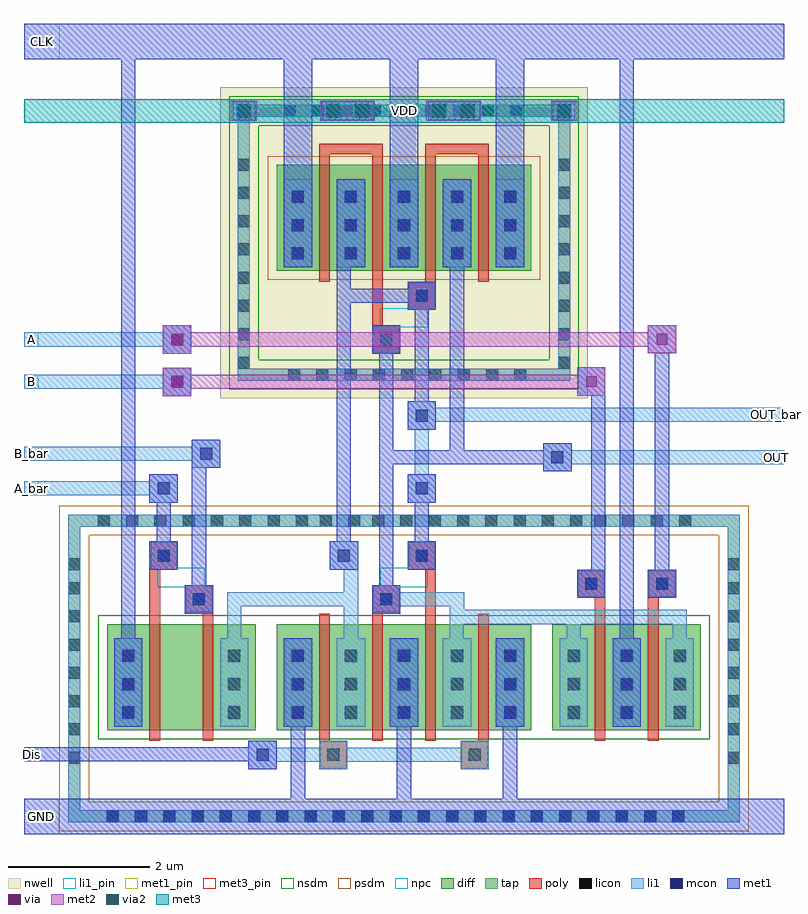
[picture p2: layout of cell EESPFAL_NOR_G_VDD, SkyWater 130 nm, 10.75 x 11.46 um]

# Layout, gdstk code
import gdstk
lib = gdstk.Library(unit=1e-6, precision=1e-09)
def R(c, l, rs):  # rectangles x0, y0, x1, y1
    for r in rs: c.add(gdstk.rectangle(r[:2], r[2:], *l))
def A(c, l, x, y, w, h, nx, ny, dx, dy):  # array of equal rectangles
    R(c, l, [(x+i*dx, y+j*dy, x+i*dx+w, y+j*dy+h) for i in range(nx) for j in range(ny)])
nwell = (64, 20)
diff = (65, 20)
tap = (65, 44)
poly = (66, 20)
licon = (66, 44)
li1_pin = (67, 16)
li1 = (67, 20)
mcon = (67, 44)
met1_pin = (68, 16)
met1 = (68, 20)
via = (68, 44)
met2 = (69, 20)
via2 = (69, 44)
met3_pin = (70, 16)
met3 = (70, 20)
nsdm = (93, 44)
psdm = (94, 20)
npc = (95, 20)

eespfal_nor_g_vdd = lib.new_cell('EESPFAL_NOR_G_VDD')
R(eespfal_nor_g_vdd, nwell, [(-20.15,6.295,-14.95,10.695)])
R(eespfal_nor_g_vdd, diff, [(-21.75,1.6,-19.65,3.1), (-19.35,1.6,-15.75,3.1), (-15.45,1.6,-13.35,3.1), (-19.35,8.095,-15.75,9.595)])
R(eespfal_nor_g_vdd, tap, [(-22.3,0.295,-12.8,0.465), (-22.3,0.465,-22.13,4.48), (-12.97,0.465,-12.8,4.48), (-22.3,4.48,-12.8,4.65), (-19.9,6.545,-15.2,6.715), (-19.9,6.715,-19.73,10.275), (-15.37,6.715,-15.2,10.275), (-19.9,10.275,-15.2,10.445)])
R(eespfal_nor_g_vdd, poly, [(-18.75,1.05,-18.35,1.45), (-16.75,1.05,-16.35,1.45), (-21.15,1.45,-21,3.87), (-20.4,1.45,-20.25,3.25), (-18.75,1.45,-18.6,3.25), (-18,1.45,-17.85,3.25), (-17.25,1.45,-17.1,3.87), (-16.5,1.45,-16.35,3.25), (-14.85,1.45,-14.7,3.47), (-14.1,1.45,-13.95,3.47), (-20.65,3.25,-20.25,3.65), (-18,3.25,-17.6,3.65), (-15.1,3.47,-14.7,3.87), (-14.1,3.47,-13.7,3.87), (-21.15,3.87,-20.75,4.27), (-17.5,3.87,-17.1,4.27), (-18,6.925,-17.6,7.325), (-18,7.325,-17.85,9.745), (-17.5,7.545,-17.1,7.945), (-18.75,7.945,-18.6,9.745), (-17.25,7.945,-17.1,9.745), (-16.5,7.945,-16.35,9.745), (-18.75,9.745,-17.85,9.895), (-17.25,9.745,-16.35,9.895)])
A(eespfal_nor_g_vdd, licon, -21.755, 0.295, 0.17, 0.17, 21, 1, 0.4, 0)
A(eespfal_nor_g_vdd, licon, -22.3, 1.125, 0.17, 0.17, 1, 7, 0, 0.4)
A(eespfal_nor_g_vdd, licon, -12.97, 1.125, 0.17, 0.17, 1, 7, 0, 0.4)
A(eespfal_nor_g_vdd, licon, -21.535, 1.765, 0.17, 0.17, 1, 3, 0, 0.4)
A(eespfal_nor_g_vdd, licon, -20.035, 1.765, 0.17, 0.17, 1, 3, 0, 0.4)
A(eespfal_nor_g_vdd, licon, -19.135, 1.765, 0.17, 0.17, 5, 3, 0.75, 0.4)
A(eespfal_nor_g_vdd, licon, -15.235, 1.765, 0.17, 0.17, 3, 3, 0.75, 0.4)
A(eespfal_nor_g_vdd, licon, -21.88, 4.48, 0.17, 0.17, 8, 1, 0.4, 0)
A(eespfal_nor_g_vdd, licon, -18, 4.48, 0.17, 0.17, 8, 1, 0.4, 0)
A(eespfal_nor_g_vdd, licon, -14.86, 4.48, 0.17, 0.17, 4, 1, 0.4, 0)
A(eespfal_nor_g_vdd, licon, -19.19, 6.545, 0.17, 0.17, 9, 1, 0.4, 0)
A(eespfal_nor_g_vdd, licon, -19.9, 6.715, 0.17, 0.17, 1, 8, 0, 0.4)
A(eespfal_nor_g_vdd, licon, -15.37, 6.715, 0.17, 0.17, 1, 8, 0, 0.4)
A(eespfal_nor_g_vdd, licon, -19.135, 8.26, 0.17, 0.17, 5, 3, 0.75, 0.4)
A(eespfal_nor_g_vdd, licon, -19.25, 10.275, 0.17, 0.17, 9, 1, 0.4, 0)
R(eespfal_nor_g_vdd, licon, [(-18.635,1.165,-18.465,1.335), (-16.635,1.165,-16.465,1.335), (-20.535,3.365,-20.365,3.535), (-17.885,3.365,-17.715,3.535), (-14.985,3.585,-14.815,3.755), (-13.985,3.585,-13.815,3.755), (-22.3,3.865,-22.13,4.035), (-12.97,3.865,-12.8,4.035), (-21.035,3.985,-20.865,4.155), (-17.385,3.985,-17.215,4.155), (-18.74,4.48,-18.57,4.65), (-18.34,4.48,-18.17,4.65), (-17.885,7.04,-17.715,7.21), (-17.385,7.66,-17.215,7.83)])
R(eespfal_nor_g_vdd, li1_pin, [(-22.925,4.92,-22.725,5.12), (-12.375,5.36,-12.175,5.56), (-22.925,5.41,-22.725,5.61), (-12.375,5.96,-12.175,6.16), (-22.925,6.43,-22.725,6.63), (-22.925,7.025,-22.725,7.225)])
A(eespfal_nor_g_vdd, li1, -19.25, 1.65, 0.4, 1.25, 5, 2, 0.75, 6.495)
A(eespfal_nor_g_vdd, li1, -15.35, 1.65, 0.4, 1.25, 3, 1, 0.75, 0)
R(eespfal_nor_g_vdd, li1, [(-22.3,0.295,-12.8,0.465), (-22.3,0.465,-22.13,4.48), (-12.97,0.465,-12.8,4.48), (-19.75,1.05,-19.35,1.15), (-18.75,1.05,-18.35,1.15), (-16.75,1.05,-16.35,1.15), (-19.75,1.15,-16.35,1.35), (-19.75,1.35,-19.35,1.45), (-18.75,1.35,-18.35,1.45), (-16.75,1.35,-16.35,1.45), (-21.65,1.65,-21.25,2.9), (-20.15,1.65,-19.75,2.9), (-20.05,2.9,-19.85,3.35), (-18.4,2.9,-18.2,3.35), (-16.9,2.9,-16.705,3.1), (-15.25,2.9,-15.05,3.1), (-13.75,2.9,-13.55,3.1), (-16.9,3.1,-13.55,3.3), (-20.65,3.25,-20.25,3.65), (-18,3.25,-17.6,3.35), (-16.9,3.3,-16.7,3.35), (-20.05,3.35,-18.2,3.55), (-18,3.35,-16.7,3.55), (-15.1,3.47,-14.7,3.87), (-14.1,3.47,-13.7,3.87), (-18.4,3.55,-18.2,3.87), (-18,3.55,-17.6,3.65), (-21.15,3.87,-20.75,4.27), (-18.6,3.87,-18.2,4.27), (-17.5,3.87,-17.1,4.27), (-22.3,4.48,-12.8,4.65), (-21.15,4.82,-20.75,4.92), (-17.5,4.82,-17.1,5.22), (-22.925,4.92,-20.75,5.12), (-21.15,5.12,-20.75,5.22), (-17.4,5.22,-17.2,5.85), (-15.58,5.26,-15.18,5.36), (-20.55,5.31,-20.15,5.41), (-15.58,5.36,-12.175,5.56), (-22.925,5.41,-20.15,5.61), (-15.58,5.56,-15.18,5.66), (-20.55,5.61,-20.15,5.71), (-17.5,5.85,-17.1,5.96), (-17.5,5.96,-12.175,6.16), (-17.5,6.16,-17.1,6.25), (-20.96,6.325,-20.56,6.43), (-22.925,6.43,-20.56,6.63), (-19.9,6.545,-15.2,6.715), (-20.96,6.63,-20.56,6.725), (-19.9,6.715,-19.73,10.275), (-15.37,6.715,-15.2,10.275), (-20.96,6.925,-20.56,7.025), (-18,6.925,-17.6,7.325), (-22.925,7.025,-20.56,7.225), (-20.96,7.225,-20.56,7.325), (-17.5,7.545,-17.1,7.945), (-19.9,10.275,-15.2,10.445)])
A(eespfal_nor_g_vdd, mcon, -21.755, 0.295, 0.17, 0.17, 21, 1, 0.4, 0)
A(eespfal_nor_g_vdd, mcon, -21.535, 1.765, 0.17, 0.17, 1, 3, 0, 0.4)
A(eespfal_nor_g_vdd, mcon, -19.135, 1.765, 0.17, 0.17, 3, 3, 1.5, 0.4)
A(eespfal_nor_g_vdd, mcon, -14.485, 1.765, 0.17, 0.17, 1, 3, 0, 0.4)
A(eespfal_nor_g_vdd, mcon, -19.135, 8.26, 0.17, 0.17, 5, 3, 0.75, 0.4)
R(eespfal_nor_g_vdd, mcon, [(-19.635,1.165,-19.465,1.335), (-20.535,3.365,-20.365,3.535), (-17.885,3.365,-17.715,3.535), (-14.985,3.585,-14.815,3.755), (-13.985,3.585,-13.815,3.755), (-21.035,3.985,-20.865,4.155), (-18.485,3.985,-18.315,4.155), (-17.385,3.985,-17.215,4.155), (-21.035,4.935,-20.865,5.105), (-17.385,4.935,-17.215,5.105), (-15.465,5.375,-15.295,5.545), (-20.435,5.425,-20.265,5.595), (-17.385,5.965,-17.215,6.135), (-20.845,6.44,-20.675,6.61), (-20.845,7.04,-20.675,7.21), (-17.885,7.04,-17.715,7.21), (-17.385,7.66,-17.215,7.83), (-19.9,10.275,-19.73,10.445), (-18.635,10.275,-18.465,10.445), (-18.235,10.275,-18.065,10.445), (-17.135,10.275,-16.965,10.445), (-16.735,10.275,-16.565,10.445), (-15.37,10.275,-15.2,10.445)])
R(eespfal_nor_g_vdd, met1_pin, [(-22.925,0.13,-22.425,0.63), (-22.925,1.16,-22.725,1.36), (-22.92,11.09,-22.42,11.59)])
A(eespfal_nor_g_vdd, met1, -19.15, 0.63, 0.2, 1.02, 3, 1, 1.5, 0)
A(eespfal_nor_g_vdd, met1, -19.25, 1.65, 0.4, 1.25, 3, 1, 1.5, 0)
A(eespfal_nor_g_vdd, met1, -19.25, 8.145, 0.4, 2.945, 3, 1, 1.5, 0)
R(eespfal_nor_g_vdd, met1, [(-22.925,0.13,-12.175,0.63), (-19.75,1.05,-19.35,1.16), (-22.925,1.16,-19.35,1.36), (-19.75,1.36,-19.35,1.45), (-21.65,1.65,-21.25,2.9), (-14.6,1.65,-14.2,2.9), (-21.55,2.9,-21.35,11.09), (-14.5,2.9,-14.3,11.09), (-20.65,3.25,-20.25,3.65), (-18,3.25,-17.6,3.65), (-15.1,3.47,-14.7,3.87), (-14.1,3.47,-13.7,3.87), (-20.55,3.65,-20.35,5.31), (-17.9,3.65,-17.7,5.36), (-21.15,3.87,-20.75,4.27), (-18.6,3.87,-18.2,4.27), (-17.5,3.87,-17.1,4.27), (-14.9,3.87,-14.7,6.33), (-14,3.87,-13.8,6.93), (-21.05,4.27,-20.85,4.82), (-18.5,4.27,-18.3,7.645), (-17.4,4.27,-17.2,4.82), (-21.15,4.82,-20.75,5.22), (-17.5,4.82,-17.1,5.22), (-15.58,5.26,-15.18,5.36), (-20.55,5.31,-20.15,5.71), (-17.9,5.36,-15.18,5.56), (-17.9,5.56,-17.7,6.925), (-16.9,5.56,-16.7,8.145), (-15.58,5.56,-15.18,5.66), (-17.5,5.85,-17.1,6.25), (-17.4,6.25,-17.2,7.545), (-20.96,6.325,-20.56,6.725), (-15.1,6.33,-14.7,6.73), (-20.96,6.925,-20.56,7.325), (-18,6.925,-17.6,7.325), (-14.1,6.93,-13.7,7.33), (-17.5,7.545,-17.1,7.645), (-18.5,7.645,-17.1,7.845), (-18.5,7.845,-18.3,8.145), (-17.5,7.845,-17.1,7.945), (-18.5,8.145,-18.1,9.395), (-17,8.145,-16.6,9.395), (-19.975,10.23,-19.655,10.49), (-18.71,10.23,-17.975,10.49), (-17.21,10.23,-16.475,10.49), (-15.445,10.23,-15.125,10.49), (-22.92,11.09,-12.175,11.59)])
R(eespfal_nor_g_vdd, via, [(-20.835,6.45,-20.685,6.6), (-14.975,6.455,-14.825,6.605), (-20.835,7.05,-20.685,7.2), (-13.975,7.055,-13.825,7.205), (-19.89,10.285,-19.74,10.435), (-18.625,10.285,-18.475,10.435), (-18.225,10.285,-18.075,10.435), (-17.125,10.285,-16.975,10.435), (-16.725,10.285,-16.575,10.435), (-15.36,10.285,-15.21,10.435)])
R(eespfal_nor_g_vdd, met2, [(-20.96,6.325,-20.56,6.43), (-15.1,6.33,-14.7,6.43), (-20.96,6.43,-14.7,6.63), (-20.96,6.63,-20.56,6.725), (-15.1,6.63,-14.7,6.73), (-20.96,6.925,-20.56,7.025), (-14.1,6.93,-13.7,7.025), (-20.96,7.025,-13.7,7.225), (-20.96,7.225,-20.56,7.325), (-14.1,7.225,-13.7,7.33), (-20,10.22,-19.63,10.5), (-18.735,10.22,-17.965,10.5), (-17.235,10.22,-16.465,10.5), (-15.47,10.22,-15.1,10.5)])
R(eespfal_nor_g_vdd, via2, [(-19.915,10.26,-19.715,10.46), (-18.65,10.26,-18.45,10.46), (-18.25,10.26,-18.05,10.46), (-17.15,10.26,-16.95,10.46), (-16.75,10.26,-16.55,10.46), (-15.385,10.26,-15.185,10.46)])
R(eespfal_nor_g_vdd, met3_pin, [(-22.925,10.195,-12.175,10.525)])
R(eespfal_nor_g_vdd, met3, [(-22.925,10.195,-12.175,10.525)])
R(eespfal_nor_g_vdd, nsdm, [(-21.875,1.475,-13.225,3.225), (-20.025,6.42,-15.075,6.84), (-20.025,6.84,-19.605,10.15), (-15.495,6.84,-15.075,10.15), (-20.025,10.15,-15.075,10.57)])
R(eespfal_nor_g_vdd, psdm, [(-22.425,0.17,-12.675,0.59), (-22.425,0.59,-22.005,4.355), (-13.095,0.59,-12.675,4.355), (-22.425,4.355,-12.675,4.775), (-19.475,7.97,-15.625,9.72)])
R(eespfal_nor_g_vdd, npc, [(-18.735,1.065,-18.365,1.435), (-16.735,1.065,-16.365,1.435), (-20.635,3.265,-20.265,3.625), (-17.985,3.265,-17.615,3.625), (-15.085,3.485,-14.715,3.855), (-14.085,3.485,-13.715,3.855), (-21.035,3.625,-20.265,3.635), (-17.985,3.625,-17.215,3.635), (-21.035,3.635,-20.365,3.885), (-17.885,3.635,-17.215,3.885), (-21.135,3.885,-20.365,3.895), (-17.885,3.885,-17.115,3.895), (-21.135,3.895,-20.765,4.255), (-17.485,3.895,-17.115,4.255), (-17.985,6.94,-17.615,7.3), (-17.985,7.3,-17.215,7.31), (-17.885,7.31,-17.215,7.56), (-17.885,7.56,-17.115,7.57), (-17.485,7.57,-17.115,7.93)])
eespfal_nor_g_vdd.add(gdstk.Label('B_bar', (-22.825,5.51), layer=67, texttype=5))
eespfal_nor_g_vdd.add(gdstk.Label('A_bar', (-22.825,5.02), layer=67, texttype=5))
eespfal_nor_g_vdd.add(gdstk.Label('B', (-22.825,6.53), layer=67, texttype=5))
eespfal_nor_g_vdd.add(gdstk.Label('A', (-22.825,7.125), layer=67, texttype=5))
eespfal_nor_g_vdd.add(gdstk.Label('OUT_bar', (-12.275,6.06), layer=67, texttype=5))
eespfal_nor_g_vdd.add(gdstk.Label('OUT', (-12.275,5.46), layer=67, texttype=5))
eespfal_nor_g_vdd.add(gdstk.Label('VDD', (-17.55,10.36), layer=70, texttype=5))
eespfal_nor_g_vdd.add(gdstk.Label('Dis', (-22.825,1.26), layer=68, texttype=5))
eespfal_nor_g_vdd.add(gdstk.Label('GND', (-22.675,0.38), layer=68, texttype=5))
eespfal_nor_g_vdd.add(gdstk.Label('CLK', (-22.67,11.34), layer=68, texttype=5))

lib.write_gds('EESPFAL_NOR_G_VDD.gds')
